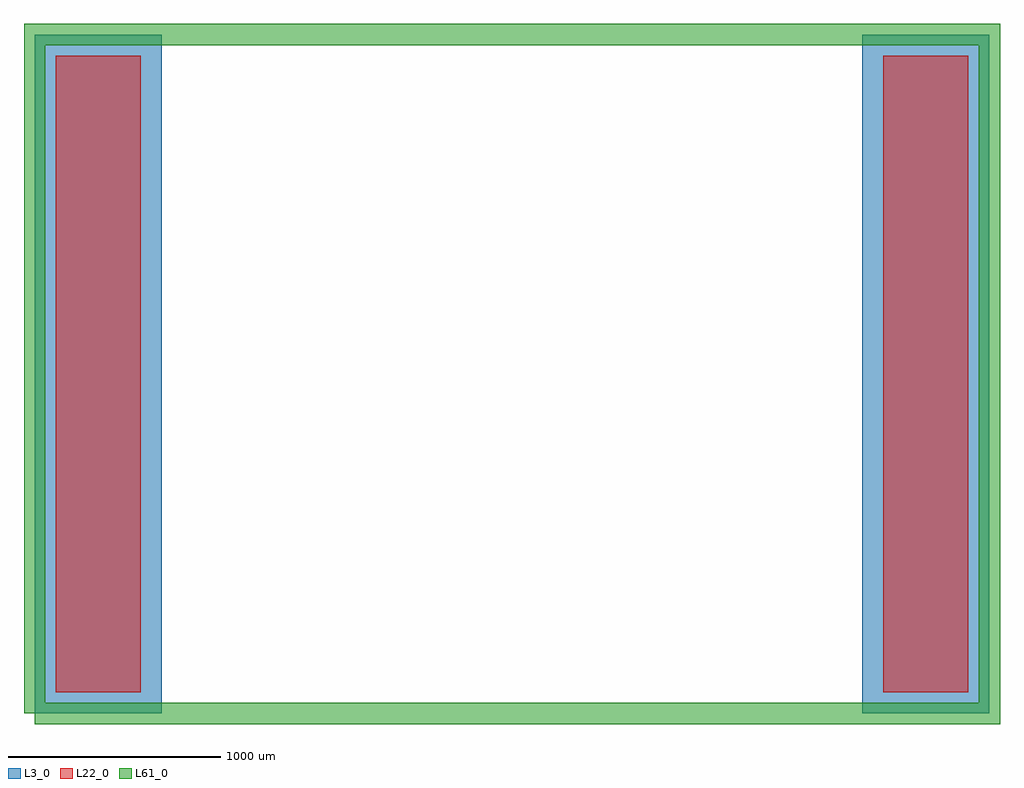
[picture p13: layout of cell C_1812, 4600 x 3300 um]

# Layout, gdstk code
import gdstk
lib = gdstk.Library(unit=1e-6, precision=1e-09)
def R(c, l, rs):  # rectangles x0, y0, x1, y1
    for r in rs: c.add(gdstk.rectangle(r[:2], r[2:], *l))
L3_0 = (3, 0)
L22_0 = (22, 0)
L61_0 = (61, 0)

c_1812 = lib.new_cell('C_1812')
R(c_1812, L3_0, [(-2250,-1600,-1650,1600), (1650,-1600,2250,1600)])
R(c_1812, L22_0, [(-2150,-1500,-1750,1500), (1750,-1500,2150,1500)])
c_1812.add(gdstk.FlexPath([(-2250,-1600),(2250,-1600),(2250,1600),(-2250,1600),(-2250,-1600)], 100, ends="flush", simple_path=True, layer=61, datatype=0))  # L61_0

lib.write_gds('C_1812.gds')
